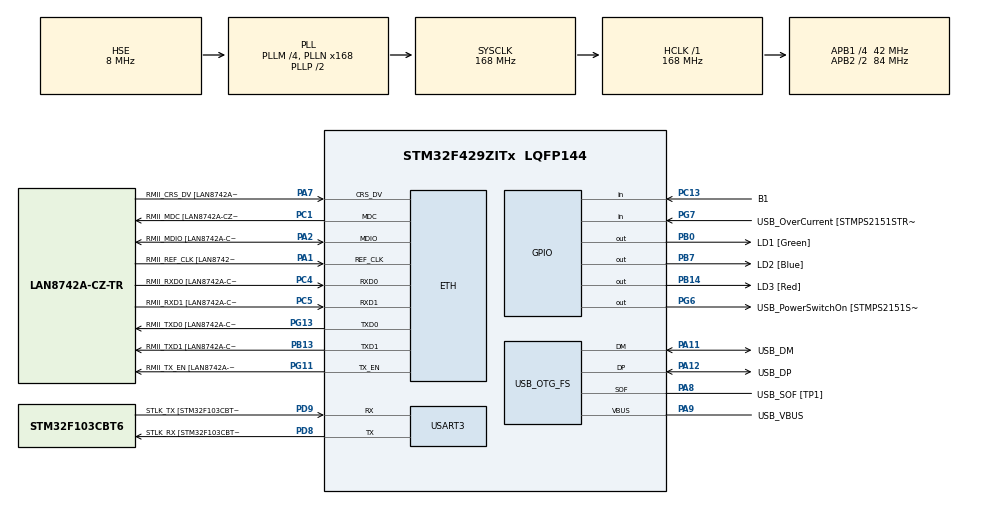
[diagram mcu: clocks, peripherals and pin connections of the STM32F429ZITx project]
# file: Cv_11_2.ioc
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ETH.MediaInterface=HAL_ETH_RMII_MODE
ETH.PHY_Name=LAN8742A_PHY_ADDRESS
ETH.PHY_Value=0
ETH.PhyAddress=0
Mcu.Family=STM32F4
Mcu.Name=STM32F429ZITx
Mcu.Package=LQFP144
NVIC.OTG_FS_IRQn=true\:0\:0\:false\:false\:true\:false\:true\:true
NVIC.PriorityGroup=NVIC_PRIORITYGROUP_4
PA1.GPIO_Label=RMII_REF_CLK [LAN8742A-CZ-TR_REFCLK0]
PA1.Mode=RMII
PA1.Signal=ETH_REF_CLK
PA10.GPIO_Label=USB_ID
PA10.Signal=USB_OTG_FS_ID
PA11.GPIO_Label=USB_DM
PA11.Mode=Device_Only
PA11.Signal=USB_OTG_FS_DM
PA12.GPIO_Label=USB_DP
PA12.Mode=Device_Only
PA12.Signal=USB_OTG_FS_DP
PA13.GPIO_Label=TMS
PA13.Mode=Serial_Wire
PA13.Signal=SYS_JTMS-SWDIO
PA14.GPIO_Label=TCK
PA14.Mode=Serial_Wire
PA14.Signal=SYS_JTCK-SWCLK
PA2.GPIO_Label=RMII_MDIO [LAN8742A-CZ-TR_MDIO]
PA2.Mode=RMII
PA2.Signal=ETH_MDIO
PA7.GPIO_Label=RMII_CRS_DV [LAN8742A-CZ-TR_CRS_DV]
PA7.Mode=RMII
PA7.Signal=ETH_CRS_DV
PA8.GPIO_Label=USB_SOF [TP1]
PA8.Mode=Activate_SOF_FS
PA8.Signal=USB_OTG_FS_SOF
PA9.GPIO_Label=USB_VBUS
PA9.Mode=Activate_VBUS
PA9.Signal=USB_OTG_FS_VBUS
PB0.GPIO_Label=LD1 [Green]
PB0.Signal=GPIO_Output
PB13.GPIO_Label=RMII_TXD1 [LAN8742A-CZ-TR_TXD1]
PB13.Mode=RMII
PB13.Signal=ETH_TXD1
PB14.GPIO_Label=LD3 [Red]
PB14.Signal=GPIO_Output
PB7.GPIO_Label=LD2 [Blue]
PB7.Signal=GPIO_Output
PC1.GPIO_Label=RMII_MDC [LAN8742A-CZ-TR_MDC]
PC1.Mode=RMII
PC1.Signal=ETH_MDC
PC13.GPIO_Label=B1
PC13.Signal=GPIO_Input
PC14/OSC32_IN.Mode=LSE-External-Oscillator
PC14/OSC32_IN.Signal=RCC_OSC32_IN
PC15/OSC32_OUT.Mode=LSE-External-Oscillator
PC15/OSC32_OUT.Signal=RCC_OSC32_OUT
PC4.GPIO_Label=RMII_RXD0 [LAN8742A-CZ-TR_RXD0]
PC4.Mode=RMII
PC4.Signal=ETH_RXD0
PC5.GPIO_Label=RMII_RXD1 [LAN8742A-CZ-TR_RXD1]
PC5.Mode=RMII
PC5.Signal=ETH_RXD1
PD8.GPIO_Label=STLK_RX [STM32F103CBT6_PA3]
PD8.Mode=Asynchronous
PD8.Signal=USART3_TX
PD9.GPIO_Label=STLK_TX [STM32F103CBT6_PA2]
PD9.Mode=Asynchronous
PD9.Signal=USART3_RX
PG11.GPIO_Label=RMII_TX_EN [LAN8742A-CZ-TR_TXEN]
PG11.Mode=RMII
PG11.Signal=ETH_TX_EN
PG13.GPIO_Label=RMII_TXD0 [LAN8742A-CZ-TR_TXD0]
PG13.Mode=RMII
PG13.Signal=ETH_TXD0
PG6.GPIO_Label=USB_PowerSwitchOn [STMPS2151STR_EN]
PG6.Signal=GPIO_Output
PG7.GPIO_Label=USB_OverCurrent [STMPS2151STR_FAULT]
PG7.Signal=GPIO_Input
PH0/OSC_IN.GPIO_Label=MCO [STM32F103CBT6_PA8]
PH0/OSC_IN.Mode=HSE-External-Clock-Source
PH0/OSC_IN.Signal=RCC_OSC_IN
PH1/OSC_OUT.Mode=HSE-External-Clock-Source
PH1/OSC_OUT.Signal=RCC_OSC_OUT
ProjectManager.HeapSize=0x200
ProjectManager.StackSize=0x400
ProjectManager.TargetToolchain=STM32CubeIDE
RCC.48MHZClocksFreq_Value=48000000
RCC.AHBFreq_Value=168000000
RCC.APB1CLKDivider=RCC_HCLK_DIV4
RCC.APB1Freq_Value=42000000
RCC.APB1TimFreq_Value=84000000
RCC.APB2CLKDivider=RCC_HCLK_DIV2
RCC.APB2Freq_Value=84000000
RCC.APB2TimCLKDivider=2
RCC.APB2TimFreq_Value=168000000
RCC.CortexFreq_Value=168000000
RCC.HCLKFreq_Value=168000000
RCC.HSE_VALUE=8000000
RCC.HSI_VALUE=16000000
RCC.PLLM=4
RCC.PLLMUL=RCC_PLL_MUL9
RCC.PLLN=168
RCC.PLLQ=7
RCC.PRESCALERUSB=RCC_USBCLKSOURCE_PLL_DIV1_5
RCC.SYSCLKFreq_VALUE=168000000
RCC.SYSCLKSource=RCC_SYSCLKSOURCE_PLLCLK
RCC.SYSCLKSourceVirtual=RCC_SYSCLKSOURCE_PLLCLK
RCC.USBFreq_Value=48000000
RCC.VCOOutputFreq_Value=336000000
USART3.VirtualMode=VM_ASYNC
USB_DEVICE.CLASS_NAME_FS=HID
USB_DEVICE.VirtualMode-HID_FS=Hid
USB_DEVICE.VirtualModeFS=Hid_FS
USB_OTG_FS.VirtualMode=Device_Only
VP_USB_DEVICE_VS_USB_DEVICE_HID_FS.Mode=HID_FS
board=NUCLEO-F429ZI

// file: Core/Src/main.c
/* USER CODE BEGIN Header */
/**
  ******************************************************************************
  * @file           : main.c
  * @brief          : Main program body
  ******************************************************************************
  * @attention
  *
  * Copyright (c) 2022 STMicroelectronics.
  * All rights reserved.
  *
  * This software is licensed under terms that can be found in the LICENSE file
  * in the root directory of this software component.
  * If no LICENSE file comes with this software, it is provided AS-IS.
  *
  ******************************************************************************
  */
/* USER CODE END Header */
#include "main.h"
#include "string.h"
#include "usb_device.h"

/* USER CODE BEGIN Includes */
#include "usbd_hid.h"
#include  "math.h"
#include  "stdbool.h"
/* USER CODE END Includes */

ETH_TxPacketConfig TxConfig;
ETH_DMADescTypeDef  DMARxDscrTab[ETH_RX_DESC_CNT]; /* Ethernet Rx DMA Descriptors */
ETH_DMADescTypeDef  DMATxDscrTab[ETH_TX_DESC_CNT]; /* Ethernet Tx DMA Descriptors */

ETH_HandleTypeDef heth;

UART_HandleTypeDef huart3;

/* USER CODE BEGIN PV */
extern USBD_HandleTypeDef hUsbDeviceFS;
/* USER CODE END PV */

void SystemClock_Config(void);
static void MX_GPIO_Init(void);
static void MX_ETH_Init(void);
static void MX_USART3_UART_Init(void);

/* USER CODE BEGIN 0 */

void step(int x, int y, bool btn){
        uint8_t buff[4];

        if (btn == true)
                buff[0] = 0x01;
        else
                buff[0] = 0x00;

        buff[1] = (int8_t)(x);                                          // X direction
        buff[2] = (int8_t)(y);                                          // Y direction
        buff[3] = btn;                                                            // without scroll

        USBD_HID_SendReport(&hUsbDeviceFS, buff, sizeof(buff));
        HAL_Delay(USBD_HID_GetPollingInterval(&hUsbDeviceFS));
}

void circle(int r)
{
        float x, y, d_phi, phi, dx, dy;

        uint16_t steps = 250;  // number of steps == circle resolution

        dx = 0;
        dy = 0;

        d_phi = 360/steps;

        for (uint8_t i = 0; i<steps; i++)
        {
                phi = 1.45*i*d_phi*(3.1415/180);
                x = r * cos(phi);
                y = r * sin(phi);
                dx = x - dx;
                dy = y - dy;

                step(dx, dy, 1);
        }
}
void circle_2(int r, int phi_a, int phi_b) // phi_a - [degree], point in circle from draw to begin, phi_b point draw to be ended;
{
        float x, y, d_phi, phi, dx, dy;

        uint16_t steps = 250; // number of steps == circle resolution

        dx = 0;
        dy = 0;

        d_phi = 360/steps;

        for (uint8_t i = 0; i<steps*phi_a/360; i++)
        {
                phi = 1.45*i*d_phi*(3.1415/180);
                x = r * cos(phi);
                y = r * sin(phi);
                dx = x - dx;
                dy = y - dy;

               if(phi < phi_b*(3.1415/180)){
            	   step(dx, dy, 0);
               }
               else step(dx, dy, 1);
        }
}
/* USER CODE END 0 */

int main(void)
{

  /* MCU Configuration--------------------------------------------------------*/

  /* Reset of all peripherals, Initializes the Flash interface and the Systick. */
  HAL_Init();

  /* Configure the system clock */
  SystemClock_Config();

  /* Initialize all configured peripherals */
  MX_GPIO_Init();
  MX_ETH_Init();
  MX_USART3_UART_Init();
  MX_USB_DEVICE_Init();

  /* Infinite loop */
  /* USER CODE BEGIN WHILE */
  while (1)
  {

	  if (HAL_GPIO_ReadPin(GPIOC, B1_Pin)==1){
		  step(0, 0, 0);
		  circle(15);
		  step(0, 0, 0);
		  step(60, 60, 0);
		  circle(3);
		  step(0, 0, 0);
		  step(0, 15, 1);
		  step(0, 0, 0);
		  step(0, -5, 0);
		  step(-60, -60, 0);
		  step(-80, 40, 0);
		  circle(3);
		  step(0, 0, 0);
		  step(0, 16, 1);
		  step(0, 0, 0);
		  step(70, 20, 0);
		  step(0, 0, 1);
		  step(0, 50, 1);
		  circle_2(7, 270, 90);

	  }
    /* USER CODE END WHILE */

  }
}

void SystemClock_Config(void)
{
  RCC_OscInitTypeDef RCC_OscInitStruct = {0};
  RCC_ClkInitTypeDef RCC_ClkInitStruct = {0};

  /** Configure the main internal regulator output voltage
  */
  __HAL_RCC_PWR_CLK_ENABLE();
  __HAL_PWR_VOLTAGESCALING_CONFIG(PWR_REGULATOR_VOLTAGE_SCALE1);

  /** Initializes the RCC Oscillators according to the specified parameters
  * in the RCC_OscInitTypeDef structure.
  */
  RCC_OscInitStruct.OscillatorType = RCC_OSCILLATORTYPE_HSE;
  RCC_OscInitStruct.HSEState = RCC_HSE_BYPASS;
  RCC_OscInitStruct.PLL.PLLState = RCC_PLL_ON;
  RCC_OscInitStruct.PLL.PLLSource = RCC_PLLSOURCE_HSE;
  RCC_OscInitStruct.PLL.PLLM = 4;
  RCC_OscInitStruct.PLL.PLLN = 168;
  RCC_OscInitStruct.PLL.PLLP = RCC_PLLP_DIV2;
  RCC_OscInitStruct.PLL.PLLQ = 7;
  if (HAL_RCC_OscConfig(&RCC_OscInitStruct) != HAL_OK)
  {
    Error_Handler();
  }

  /** Initializes the CPU, AHB and APB buses clocks
  */
  RCC_ClkInitStruct.ClockType = RCC_CLOCKTYPE_HCLK|RCC_CLOCKTYPE_SYSCLK
                              |RCC_CLOCKTYPE_PCLK1|RCC_CLOCKTYPE_PCLK2;
  RCC_ClkInitStruct.SYSCLKSource = RCC_SYSCLKSOURCE_PLLCLK;
  RCC_ClkInitStruct.AHBCLKDivider = RCC_SYSCLK_DIV1;
  RCC_ClkInitStruct.APB1CLKDivider = RCC_HCLK_DIV4;
  RCC_ClkInitStruct.APB2CLKDivider = RCC_HCLK_DIV2;

  if (HAL_RCC_ClockConfig(&RCC_ClkInitStruct, FLASH_LATENCY_5) != HAL_OK)
  {
    Error_Handler();
  }
}

static void MX_ETH_Init(void)
{

   static uint8_t MACAddr[6];

  heth.Instance = ETH;
  MACAddr[0] = 0x00;
  MACAddr[1] = 0x80;
  MACAddr[2] = 0xE1;
  MACAddr[3] = 0x00;
  MACAddr[4] = 0x00;
  MACAddr[5] = 0x00;
  heth.Init.MACAddr = &MACAddr[0];
  heth.Init.MediaInterface = HAL_ETH_RMII_MODE;
  heth.Init.TxDesc = DMATxDscrTab;
  heth.Init.RxDesc = DMARxDscrTab;
  heth.Init.RxBuffLen = 1524;

  if (HAL_ETH_Init(&heth) != HAL_OK)
  {
    Error_Handler();
  }

  memset(&TxConfig, 0 , sizeof(ETH_TxPacketConfig));
  TxConfig.Attributes = ETH_TX_PACKETS_FEATURES_CSUM | ETH_TX_PACKETS_FEATURES_CRCPAD;
  TxConfig.ChecksumCtrl = ETH_CHECKSUM_IPHDR_PAYLOAD_INSERT_PHDR_CALC;
  TxConfig.CRCPadCtrl = ETH_CRC_PAD_INSERT;

}

static void MX_USART3_UART_Init(void)
{

  huart3.Instance = USART3;
  huart3.Init.BaudRate = 115200;
  huart3.Init.WordLength = UART_WORDLENGTH_8B;
  huart3.Init.StopBits = UART_STOPBITS_1;
  huart3.Init.Parity = UART_PARITY_NONE;
  huart3.Init.Mode = UART_MODE_TX_RX;
  huart3.Init.HwFlowCtl = UART_HWCONTROL_NONE;
  huart3.Init.OverSampling = UART_OVERSAMPLING_16;
  if (HAL_UART_Init(&huart3) != HAL_OK)
  {
    Error_Handler();
  }

}

static void MX_GPIO_Init(void)
{
  GPIO_InitTypeDef GPIO_InitStruct = {0};

  /* GPIO Ports Clock Enable */
  __HAL_RCC_GPIOC_CLK_ENABLE();
  __HAL_RCC_GPIOH_CLK_ENABLE();
  __HAL_RCC_GPIOA_CLK_ENABLE();
  __HAL_RCC_GPIOB_CLK_ENABLE();
  __HAL_RCC_GPIOD_CLK_ENABLE();
  __HAL_RCC_GPIOG_CLK_ENABLE();

  /*Configure GPIO pin Output Level */
  HAL_GPIO_WritePin(GPIOB, LD1_Pin|LD3_Pin|LD2_Pin, GPIO_PIN_RESET);

  /*Configure GPIO pin Output Level */
  HAL_GPIO_WritePin(USB_PowerSwitchOn_GPIO_Port, USB_PowerSwitchOn_Pin, GPIO_PIN_RESET);

  /*Configure GPIO pin : B1_Pin */
  GPIO_InitStruct.Pin = B1_Pin;
  GPIO_InitStruct.Mode = GPIO_MODE_INPUT;
  GPIO_InitStruct.Pull = GPIO_NOPULL;
  HAL_GPIO_Init(B1_GPIO_Port, &GPIO_InitStruct);

  /*Configure GPIO pins : LD1_Pin LD3_Pin LD2_Pin */
  GPIO_InitStruct.Pin = LD1_Pin|LD3_Pin|LD2_Pin;
  GPIO_InitStruct.Mode = GPIO_MODE_OUTPUT_PP;
  GPIO_InitStruct.Pull = GPIO_NOPULL;
  GPIO_InitStruct.Speed = GPIO_SPEED_FREQ_LOW;
  HAL_GPIO_Init(GPIOB, &GPIO_InitStruct);

  /*Configure GPIO pin : USB_PowerSwitchOn_Pin */
  GPIO_InitStruct.Pin = USB_PowerSwitchOn_Pin;
  GPIO_InitStruct.Mode = GPIO_MODE_OUTPUT_PP;
  GPIO_InitStruct.Pull = GPIO_NOPULL;
  GPIO_InitStruct.Speed = GPIO_SPEED_FREQ_LOW;
  HAL_GPIO_Init(USB_PowerSwitchOn_GPIO_Port, &GPIO_InitStruct);

  /*Configure GPIO pin : USB_OverCurrent_Pin */
  GPIO_InitStruct.Pin = USB_OverCurrent_Pin;
  GPIO_InitStruct.Mode = GPIO_MODE_INPUT;
  GPIO_InitStruct.Pull = GPIO_NOPULL;
  HAL_GPIO_Init(USB_OverCurrent_GPIO_Port, &GPIO_InitStruct);

}

void Error_Handler(void)
{
  __disable_irq();
  while (1)
  {
  }
}
